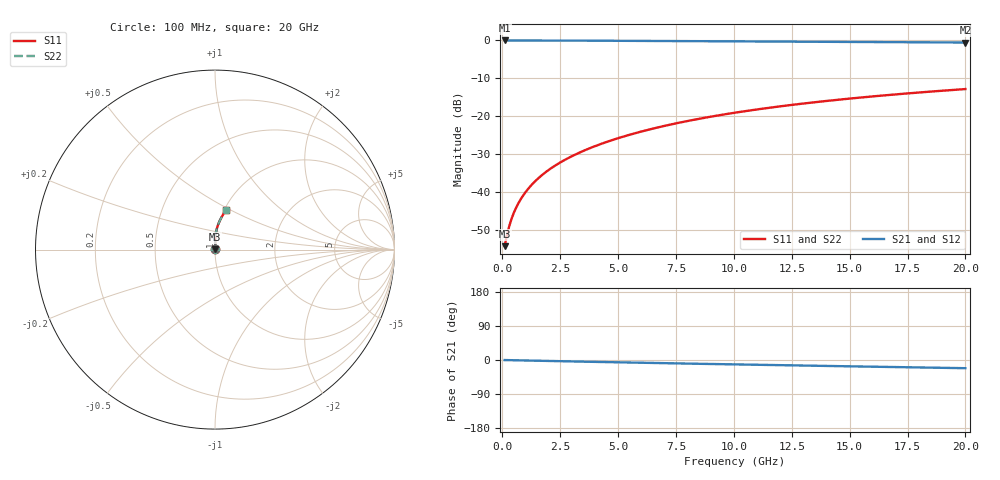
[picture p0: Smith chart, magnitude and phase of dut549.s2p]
! Touchstone file exported from HFSS 2024.1.0
!  File:  C:/UserFiles/LocalFiles/RDL_TSV_Batchsim/temp_RDL_top_549_1779680870.aedt
!  Generated:  11:49:49 AM May 25, 2026
!  Design:  RDL_top
!  Project:  temp_RDL_top_549_1779680870
!  Setup:  Setup1
!  Solution:  Sweep
! Variables:
!  dtsv = 10.80580581um
!  hbump = 3um
!  htsv = 50.71um
!  ldown = 100um
!  lrdl = 277.31um
!  p = 40
!  p1 = 50.97um
!  rhole = 1um
!  t = 450um
!  tdown = 3.915915916um
!  trdl = 3.03um
!  wdown = 15.38538539um
!  wrdl = 23.57um
# GHz S MA R 50.000000
! Terminal data exported
! Port[1] = Box2_T1
! Port[2] = Box2_T2
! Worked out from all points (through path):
!   200 points, 100 MHz to 20 GHz, reference 50 ohm
!   highest |S21| = -0.01 dB at 100 MHz (marker M1); lowest = -0.6 dB at 20 GHz (marker M2)
!   group delay of S21, straight-line fit = 2.97 ps
!   lowest |S11| = -54.2 dB at 100 MHz (marker M3), VSWR 1.00, Z = 50.2 + j0.108 ohm
!   |S11| at or under -10 dB: start of sweep to end of sweep
!   |S22| runs from -54.2 to -12.8 dB; largest |S21 - S12| = 6.1e-15
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0.1  0.001956 33.3  0.9984 -0.1  0.9984 -0.1  0.001956 33.3
! Gamma 0 0 0 0
! Port Impedance 50 0 50 0
0.2  0.002713 51.3  0.9983 -0.3  0.9983 -0.3  0.002713 51.3
0.3  0.003588 60.5  0.9982 -0.4  0.9982 -0.4  0.003588 60.5
0.4  0.004488 66.0  0.9981 -0.5  0.9981 -0.5  0.004488 66.0
0.5  0.005395 69.7  0.998 -0.7  0.998 -0.7  0.005395 69.7
0.6  0.006307 72.5  0.9979 -0.8  0.9979 -0.8  0.006307 72.5
0.8  0.008149 76.4  0.9977 -1.0  0.9977 -1.0  0.008149 76.4
1.1  0.01096 80.1  0.9974 -1.4  0.9974 -1.4  0.01096 80.1
1.3  0.01286 81.7  0.9971 -1.7  0.9971 -1.7  0.01286 81.7
1.6  0.01576 83.6  0.9967 -2.0  0.9967 -2.0  0.01576 83.6
2.1  0.02068 85.6  0.9959 -2.7  0.9959 -2.7  0.02068 85.6
2.7  0.02674 87.1  0.9947 -3.4  0.9947 -3.4  0.02674 87.1
3.5  0.03511 88.3  0.9928 -4.4  0.9928 -4.4  0.03511 88.3
4.2  0.04268 88.8  0.9908 -5.2  0.9908 -5.2  0.04268 88.8
5  0.0516 89.0  0.9884 -6.1  0.9884 -6.1  0.0516 89.0
5.9  0.06193 88.8  0.9855 -7.2  0.9855 -7.2  0.06193 88.8
6.8  0.07251 88.4  0.9825 -8.2  0.9825 -8.2  0.07251 88.4
8.4  0.09172 87.1  0.977 -9.9  0.977 -9.9  0.09173 87.1
10.1  0.1124 85.4  0.9713 -11.7  0.9713 -11.7  0.1124 85.4
13.4  0.1524 81.7  0.9602 -15.1  0.9602 -15.1  0.1524 81.7
16.7  0.1913 77.8  0.9491 -18.4  0.9491 -18.4  0.1913 77.8
20  0.2288 74.1  0.9377 -21.6  0.9377 -21.6  0.2288 74.1
